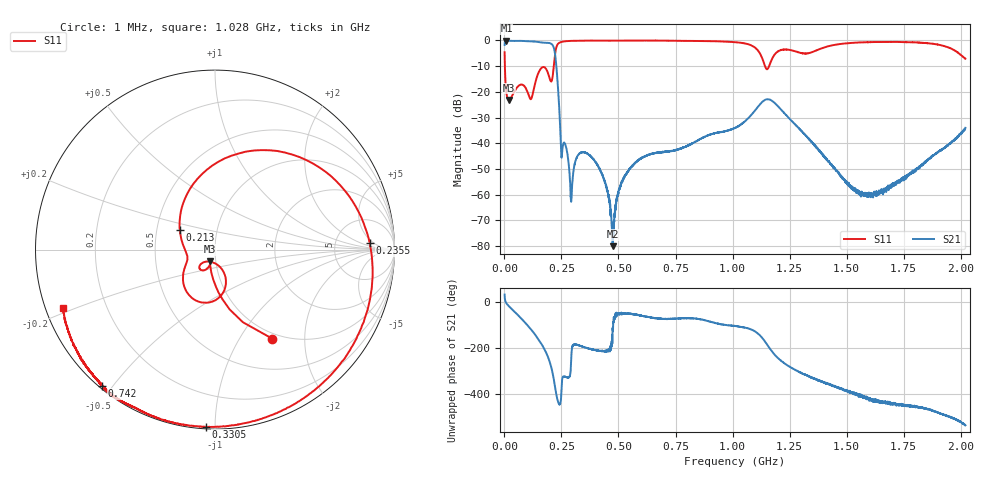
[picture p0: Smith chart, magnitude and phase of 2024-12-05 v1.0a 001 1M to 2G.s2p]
# HZ S RI R 50
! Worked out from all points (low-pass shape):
!   4040 points, 1 MHz to 2.021 GHz, reference 50 ohm
!   highest |S21| = -0.09 dB at 9 MHz (marker M1); lowest = -80.0 dB at 474.5 MHz (marker M2)
!   |S21| within 3 dB of the highest: start of sweep to 217.4 MHz
!   lowest |S11| = -23.2 dB at 20 MHz (marker M3), VSWR 1.15, Z = 47.1 - j6.1 ohm
!   |S11| at or under -10 dB: 2.209 MHz to 216.6 MHz (214.4 MHz wide, 196 % of centre); 1.142 GHz to 1.16 GHz (17.88 MHz wide, 1.55 % of centre)
!   S12 and S22 are empty: the file has one direction only
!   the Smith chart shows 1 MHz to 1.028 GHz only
!   S11 on the Smith chart (normalised r, x): 1 MHz: 0.92, -1.40; 213 MHz: 0.66, +0.15; 235.5 MHz: 13, +3; 330.5 MHz: 0.01, -0.95; 742 MHz: 0.01, -0.47; 1.028 GHz: 0.05, -0.18
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1000000  0.3182 -0.4957  0.6749 0.4561  0 0  0 0
9000000  -0.0264 -0.0914  0.9865 -0.0742  0 0  0 0
2e7  -0.0258 -0.0645  0.9409 -0.2913  0 0  0 0
9.3e7  -0.0833 -0.0857  -0.0221 -0.9692  0 0  0 0
1.55e8  0.028 -0.2618  -0.9096 -0.1534  0 0  0 0
2.13e8  -0.196 0.1075  0.5787 0.536  0 0  0 0
2.355e8  0.8621 0.0353  0.027 -0.107  0 0  0 0
2.905e8  0.241 -0.9489  0.000453 0.000786  0 0  0 0
3.305e8  -0.0494 -0.9875  -0.0063 0.00106  0 0  0 0
3.38e8  -0.088 -0.9858  -0.00655 0.0014  0 0  0 0
4.745e8  -0.4418 -0.8836  -3.51e-05 -9.33e-05  0 0  0 0
5.375e8  -0.5104 -0.851  0.00171 -0.00204  0 0  0 0
6.745e8  -0.5978 -0.7923  0.00204 -0.00622  0 0  0 0
7.42e8  -0.6286 -0.7595  0.00229 -0.00686  0 0  0 0
1.011e9  -0.8334 -0.4018  -0.0046 -0.0194  0 0  0 0
1.0285e9  -0.8489 -0.3254  -0.00631 -0.0211  0 0  0 0
1.1275e9  -0.229 0.4203  -0.0551 -0.0285  0 0  0 0
1.2085e9  -0.2574 -0.5882  -0.0144 0.0451  0 0  0 0
1.275e9  -0.6103 0.0506  0.00995 0.0208  0 0  0 0
1.3475e9  0.1615 0.5666  0.00903 0.00545  0 0  0 0
1.684e9  0.6268 -0.6923  0.000129 -0.00132  0 0  0 0
2.0205e9  -0.4219 -0.1285  -0.0199 -0.000951  0 0  0 0
